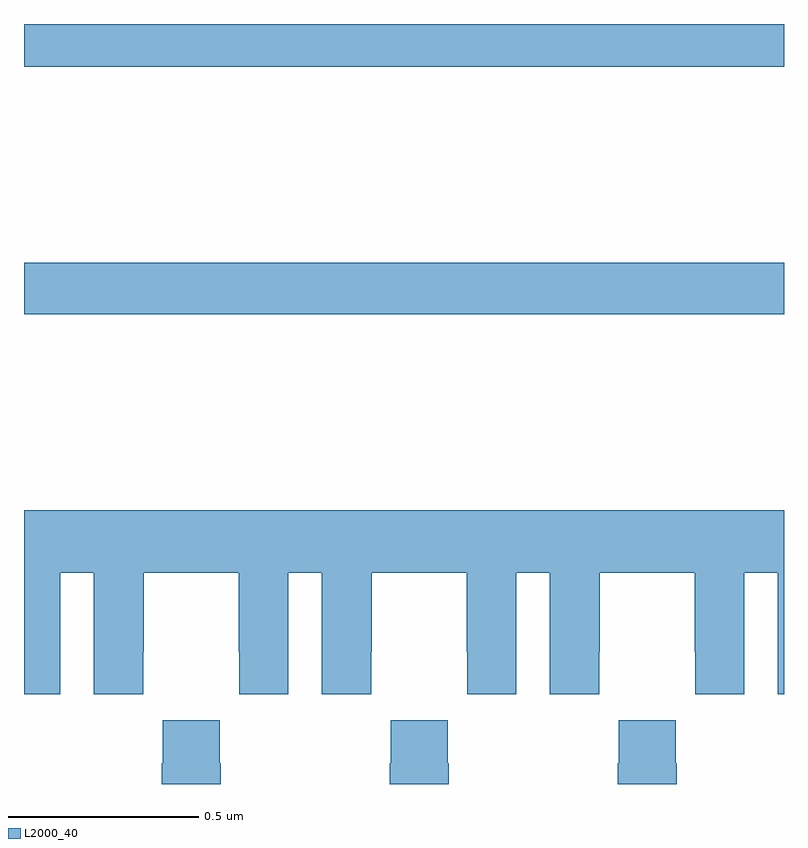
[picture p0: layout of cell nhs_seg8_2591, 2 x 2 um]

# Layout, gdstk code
import gdstk
lib = gdstk.Library(unit=1e-6, precision=1e-09)
def R(c, l, rs):  # rectangles x0, y0, x1, y1
    for r in rs: c.add(gdstk.rectangle(r[:2], r[2:], *l))
def P(c, l, *ps):  # polygons
    for p in ps: c.add(gdstk.Polygon(p, *l))
L2000_40 = (2000, 40)

nhs_seg8_2591 = lib.new_cell('nhs_seg8_2591')
R(nhs_seg8_2591, L2000_40, [(145,1161.136,147,1161.272), (145,1161.788,147,1161.9)])
P(nhs_seg8_2591, L2000_40, [(145.096,1160.456),(145.184,1160.456),(145.184,1160.136),(145.314,1160.136),(145.314,1160.248),(145.315,1160.248),(145.315,1160.456),(145.565,1160.456),(145.565,1160.248),(145.566,1160.248),(145.566,1160.136),(145.696,1160.136),(145.696,1160.456),(145.784,1160.456),(145.784,1160.136),(145.914,1160.136),(145.914,1160.248),(145.915,1160.248),(145.915,1160.456),(146.165,1160.456),(146.165,1160.248),(146.166,1160.248),(146.166,1160.136),(146.296,1160.136),(146.296,1160.456),(146.384,1160.456),(146.384,1160.136),(146.514,1160.136),(146.514,1160.248),(146.515,1160.248),(146.515,1160.456),(146.765,1160.456),(146.765,1160.248),(146.766,1160.248),(146.766,1160.136),(146.896,1160.136),(146.896,1160.456),(146.984,1160.456),(146.984,1160.136),(147,1160.136),(147,1160.62),(145,1160.62),(145,1160.136),(145.096,1160.136)],
  [(146.718,1159.955),(146.715,1159.955),(146.715,1160.068),(146.565,1160.068),(146.565,1159.955),(146.563,1159.955),(146.563,1159.9),(146.718,1159.9)],
  [(146.118,1159.955),(146.115,1159.955),(146.115,1160.068),(145.965,1160.068),(145.965,1159.955),(145.963,1159.955),(145.963,1159.9),(146.118,1159.9)],
  [(145.518,1159.955),(145.515,1159.955),(145.515,1160.068),(145.365,1160.068),(145.365,1159.955),(145.363,1159.955),(145.363,1159.9),(145.518,1159.9)])

lib.write_gds('nhs_seg8_2591.gds')
